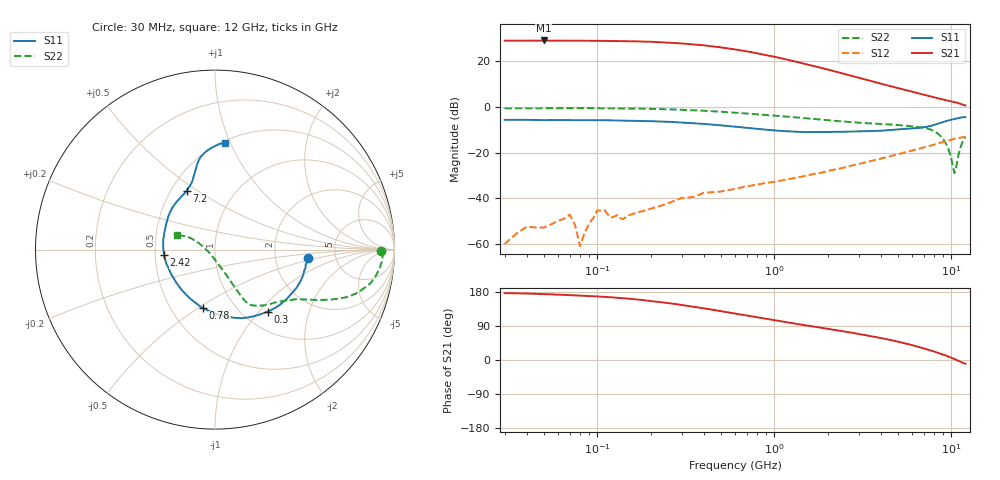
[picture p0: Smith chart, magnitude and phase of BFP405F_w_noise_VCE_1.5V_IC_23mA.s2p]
! Infineon Technologies  Discrete & RF Semiconductors
! BFP405F
! VCE =  1.5 V,  IC =  23 mA
! Common Emitter S-Parameters:  Nov 2015
# GHz  S  MA  R  50
!  f  S11  S21  S12  S22
! GHz  MAG  ANG  MAG  ANG  MAG  ANG  MAG  ANG
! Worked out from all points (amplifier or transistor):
!   239 points, 30 MHz to 12 GHz, reference 50 ohm
!   highest |S21| = 29.0 dB at 50 MHz (marker M1)
!   |S21| within 3 dB of that: start of sweep to 495.9 MHz
!   unconditionally stable (mu >= 1): start of sweep to 35.12 MHz; 78.33 MHz to 82.94 MHz; 1.102 GHz to end of sweep
!   at 300 MHz: K = 0.47, MSG = 33.8 dB, |S12| = -39.8 dB
!   at 1.88 GHz: K = 1.30, MAG = 19.5 dB, |S12| = -28.6 dB
!   at 12 GHz: K = 1.50, MAG = 2.7 dB, |S12| = -13.1 dB
!   lowest NFmin = 2.38 dB at 450 MHz
!   S11 on the Smith chart (normalised r, x): 30 MHz: 3.09, -0.40; 300 MHz: 1.29, -1.12; 780 MHz: 0.72, -0.52; 2.42 GHz: 0.56, -0.04; 7.2 GHz: 0.60, +0.45; 12 GHz: 0.52, +0.95
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0.03  0.5181 -5.3  27.94 176.4  0.001 83.1  0.926 -0.6
0.04  0.5189 -7.1  28.02 175.4  0.0024 103.4  0.9289 -1.1
0.05  0.5114 -9.7  28.2 173.7  0.0023 72.4  0.933 -1.7
0.07  0.5118 -12.7  27.95 171.0  0.0044 101.7  0.9337 -3.1
0.08  0.5105 -14.1  27.79 169.9  0.0009 114.4  0.9335 -3.1
0.085  0.5107 -15.1  27.82 169.4  0.0018 109.9  0.9327 -3.7
0.1  0.5099 -17.5  27.66 167.8  0.0054 55.4  0.9279 -4.9
0.15  0.4984 -26.6  27.19 161.9  0.0043 70.7  0.9162 -7.7
0.2  0.4851 -34.6  26.44 155.6  0.0059 83.3  0.9026 -10.2
0.24  0.4743 -40.6  25.52 151.4  0.0073 80.2  0.8878 -12.0
0.3  0.454 -49.5  24.29 145.2  0.0102 70.8  0.8616 -14.2
0.45  0.4096 -69.1  20.95 132.4  0.0136 69.7  0.8 -18.7
0.6  0.3679 -85.5  17.94 122.5  0.0161 67.7  0.7437 -21.5
0.78  0.3329 -101.5  15.05 113.5  0.0196 66.6  0.6918 -23.8
1.1  0.2963 -123.9  11.43 101.7  0.0245 65.5  0.6233 -26.7
1.64  0.2795 -150.2  7.931 88.8  0.0335 66.4  0.5483 -30.3
2.42  0.2849 -173.7  5.385 76.0  0.046 66.6  0.4792 -36.6
4.5  0.3102 150.2  2.843 53.2  0.0832 61.0  0.4117 -49.0
7.2  0.3635 115.9  1.779 28.7  0.1327 49.7  0.3389 -59.3
9.2  0.4794 102.2  1.414 12.7  0.1741 39.4  0.1707 -65.0
10.4  0.5421 96.2  1.27 2.7  0.1994 31.9  0.0355 -129.4
12  0.5967 84.9  1.067 -9.8  0.2214 22.4  0.2243 158.7
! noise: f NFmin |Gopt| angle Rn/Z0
0.45  2.38  0.02  -151  0.44
0.9  2.41  0.04  -143  0.29
1.5  2.48  0.07  -134  0.34
1.9  2.55  0.09  -131  0.43
2.4  2.73  0.1  -127  0.19
3  2.85  0.11  -124  0.2
3.5  2.94  0.12  -121  0.31
4.5  3.22  0.17  -107  0.53
5.5  3.59  0.31  -88  0.51
